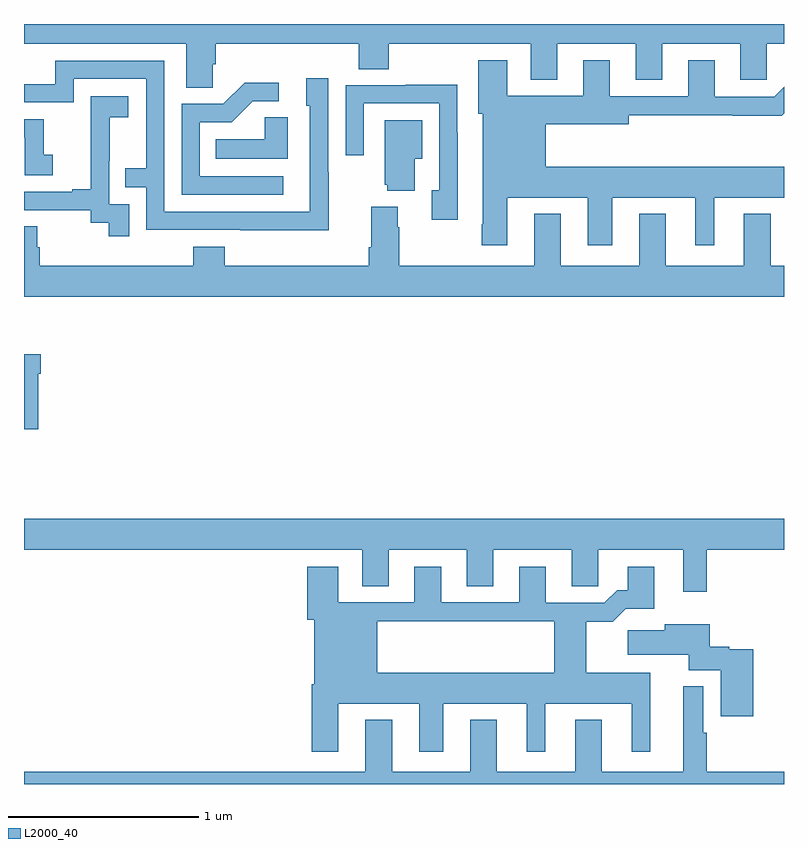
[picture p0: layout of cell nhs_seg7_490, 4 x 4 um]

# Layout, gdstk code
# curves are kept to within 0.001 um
import gdstk
lib = gdstk.Library(unit=1e-6, precision=1e-09)
def P(c, l, *ps):  # polygons
    for p in ps: c.add(gdstk.Polygon(p, *l))
L2000_40 = (2000, 40)

nhs_seg7_490 = lib.new_cell('nhs_seg7_490')
P(nhs_seg7_490, L2000_40, [(149.994,1053.787),(150.008,1053.787),(150.008,1053.896),(150.761,1053.896),(150.761,1053.763),(150.921,1053.763),(150.921,1053.896),(151.667,1053.896),(151.667,1053.707),(151.807,1053.707),(151.807,1053.896),(152.219,1053.896),(152.219,1053.706),(152.359,1053.706),(152.359,1053.896),(152.771,1053.896),(152.771,1053.706),(152.91,1053.706),(152.91,1053.896),(153,1053.896),(153,1054),(149,1054),(149,1053.896),(149.855,1053.896),(149.855,1053.664),(149.994,1053.664)],
  [(151.543,1053.086),(151.967,1053.086),(151.967,1052.835),(152.095,1052.835),(152.095,1053.086),(152.534,1053.086),(152.534,1052.835),(152.632,1052.835),(152.632,1053.086),(153,1053.086),(153,1053.25),(151.747,1053.25),(151.747,1053.473),(152.182,1053.473),(152.182,1053.52),(152.731,1053.52),(152.731,1053.518),(152.987,1053.518),(153,1053.531),(153,1053.669),(152.949,1053.618),(152.635,1053.618),(152.635,1053.808),(152.495,1053.808),(152.495,1053.621),(152.083,1053.621),(152.083,1053.808),(151.943,1053.808),(151.943,1053.622),(151.543,1053.622),(151.543,1053.808),(151.391,1053.808),(151.391,1053.528),(151.415,1053.528),(151.415,1052.947),(151.408,1052.947),(151.408,1052.835),(151.543,1052.835)],
  [(150.603,1053.221),(150.6,1053.221),(150.6,1053.715),(150.485,1053.715),(150.485,1053.57),(150.504,1053.57),(150.504,1053.012),(149.739,1053.012),(149.739,1053.807),(149.165,1053.807),(149.165,1053.684),(149,1053.684),(149,1053.588),(149.262,1053.588),(149.262,1053.711),(149.643,1053.711),(149.643,1053.242),(149.533,1053.242),(149.533,1053.141),(149.643,1053.141),(149.643,1052.916),(150.139,1052.916),(150.139,1052.915),(150.603,1052.915)],
  [(150.364,1053.198),(149.925,1053.198),(149.925,1053.483),(150.094,1053.483),(150.205,1053.594),(150.34,1053.594),(150.34,1053.692),(150.161,1053.692),(150.048,1053.579),(149.829,1053.579),(149.829,1053.102),(150.364,1053.102)],
  [(151.282,1053.428),(151.281,1053.428),(151.281,1053.68),(151.009,1053.68),(151.009,1053.678),(150.693,1053.678),(150.693,1053.309),(150.789,1053.309),(150.789,1053.582),(151.185,1053.582),(151.185,1053.126),(151.145,1053.126),(151.145,1052.97),(151.282,1052.97)],
  [(149.553,1053.051),(149.448,1053.051),(149.448,1053.281),(149.45,1053.281),(149.45,1053.509),(149.548,1053.509),(149.548,1053.619),(149.35,1053.619),(149.35,1053.413),(149.351,1053.413),(149.351,1053.13),(149.255,1053.13),(149.255,1053.117),(149,1053.117),(149,1053.021),(149.352,1053.021),(149.352,1052.953),(149.445,1052.953),(149.445,1052.883),(149.553,1052.883)],
  [(150.388,1053.509),(150.267,1053.509),(150.267,1053.394),(150.01,1053.394),(150.01,1053.29),(150.388,1053.29)],
  [(149.152,1053.313),(149.103,1053.313),(149.103,1053.498),(149,1053.498),(149,1053.402),(149.004,1053.402),(149.004,1053.204),(149.152,1053.204)],
  [(151.057,1053.29),(151.096,1053.29),(151.096,1053.493),(150.899,1053.493),(150.899,1053.153),(150.911,1053.153),(150.911,1053.122),(151.057,1053.122)],
  [(153,1052.728),(152.929,1052.728),(152.929,1053.001),(152.789,1053.001),(152.789,1052.728),(152.377,1052.728),(152.377,1053.001),(152.237,1053.001),(152.237,1052.728),(151.825,1052.728),(151.825,1053.001),(151.685,1053.001),(151.685,1052.728),(150.975,1052.728),(150.975,1052.93),(150.967,1052.93),(150.967,1053.037),(150.827,1053.037),(150.827,1052.824),(150.815,1052.824),(150.815,1052.728),(150.056,1052.728),(150.056,1052.827),(149.891,1052.827),(149.891,1052.728),(149.084,1052.728),(149.084,1052.826),(149.071,1052.826),(149.071,1052.936),(149,1052.936),(149,1052.564),(153,1052.564)],
  [(149.074,1052.159),(149.087,1052.159),(149.087,1052.263),(149,1052.263),(149,1051.868),(149.074,1051.868)],
  [(152.593,1051.232),(153,1051.232),(153,1051.396),(149,1051.396),(149,1051.232),(150.779,1051.232),(150.779,1051.042),(150.919,1051.042),(150.919,1051.232),(151.331,1051.232),(151.331,1051.042),(151.471,1051.042),(151.471,1051.232),(151.883,1051.232),(151.883,1051.042),(152.022,1051.042),(152.022,1051.232),(152.471,1051.232),(152.471,1051.011),(152.593,1051.011)],
  [(150.515,1050.526),(150.515,1050.171),(150.655,1050.171),(150.655,1050.422),(151.079,1050.422),(151.079,1050.171),(151.207,1050.171),(151.207,1050.422),(151.646,1050.422),(151.646,1050.171),(151.744,1050.171),(151.744,1050.422),(152.198,1050.422),(152.198,1050.171),(152.296,1050.171),(152.296,1050.586),(151.96,1050.586),(151.96,1050.854),(152.099,1050.854),(152.168,1050.923),(152.317,1050.923),(152.317,1051.144),(152.177,1051.144),(152.177,1051.021),(152.122,1051.021),(152.055,1050.954),(151.747,1050.954),(151.747,1051.144),(151.607,1051.144),(151.607,1050.957),(151.195,1050.957),(151.195,1051.144),(151.055,1051.144),(151.055,1050.957),(150.655,1050.957),(150.655,1051.144),(150.491,1051.144),(150.491,1050.864),(150.527,1050.864),(150.527,1050.586),(150.859,1050.586),(150.859,1050.856),(151.79,1050.856),(151.79,1050.586),(150.527,1050.586),(150.527,1050.526)],
  [(152.837,1050.709),(152.712,1050.709),(152.712,1050.722),(152.608,1050.722),(152.608,1050.841),(152.372,1050.841),(152.372,1050.809),(152.178,1050.809),(152.178,1050.68),(152.498,1050.68),(152.498,1050.599),(152.666,1050.599),(152.666,1050.357),(152.837,1050.357)],
  [(153,1050.064),(152.593,1050.064),(152.593,1050.269),(152.575,1050.269),(152.575,1050.514),(152.471,1050.514),(152.471,1050.064),(152.041,1050.064),(152.041,1050.337),(151.901,1050.337),(151.901,1050.064),(151.489,1050.064),(151.489,1050.337),(151.349,1050.337),(151.349,1050.064),(150.937,1050.064),(150.937,1050.337),(150.797,1050.337),(150.797,1050.064),(149,1050.064),(149,1050),(153,1050)])

lib.write_gds('nhs_seg7_490.gds')
